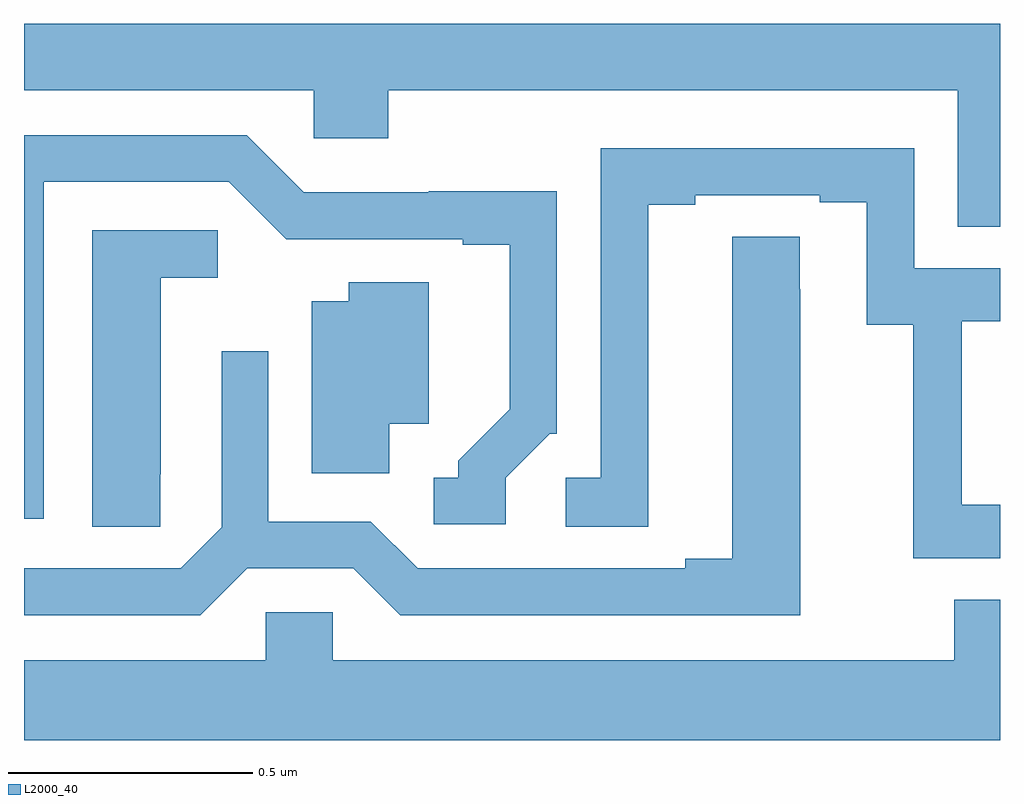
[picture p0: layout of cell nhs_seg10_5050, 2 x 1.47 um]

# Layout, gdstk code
import gdstk
lib = gdstk.Library(unit=1e-6, precision=1e-09)
def P(c, l, *ps):  # polygons
    for p in ps: c.add(gdstk.Polygon(p, *l))
L2000_40 = (2000, 40)

nhs_seg10_5050 = lib.new_cell('nhs_seg10_5050')
P(nhs_seg10_5050, L2000_40, [(176,1252.5),(174,1252.5),(174,1252.364),(174.594,1252.364),(174.594,1252.266),(174.746,1252.266),(174.746,1252.364),(175.913,1252.364),(175.913,1252.084),(176,1252.084)],
  [(174.987,1251.57),(175.077,1251.66),(175.092,1251.66),(175.092,1252.157),(174.829,1252.157),(174.829,1252.155),(174.573,1252.155),(174.456,1252.272),(174,1252.272),(174,1251.486),(174.04,1251.486),(174.04,1252.176),(174.42,1252.176),(174.537,1252.059),(174.899,1252.059),(174.899,1252.047),(174.995,1252.047),(174.995,1251.71),(174.89,1251.605),(174.89,1251.57),(174.84,1251.57),(174.84,1251.474),(174.987,1251.474)],
  [(176,1251.514),(175.922,1251.514),(175.922,1251.891),(176,1251.891),(176,1251.999),(175.824,1251.999),(175.824,1252.245),(175.182,1252.245),(175.182,1251.57),(175.11,1251.57),(175.11,1251.469),(175.279,1251.469),(175.279,1252.129),(175.375,1252.129),(175.375,1252.149),(175.631,1252.149),(175.631,1252.134),(175.727,1252.134),(175.727,1251.883),(175.822,1251.883),(175.822,1251.405),(176,1251.405)],
  [(174.279,1251.577),(174.28,1251.577),(174.28,1251.98),(174.397,1251.98),(174.397,1252.077),(174.14,1252.077),(174.14,1251.469),(174.279,1251.469)],
  [(174.457,1251.384),(174.675,1251.384),(174.771,1251.288),(175.591,1251.288),(175.591,1251.956),(175.59,1251.956),(175.59,1252.064),(175.451,1252.064),(175.451,1251.404),(175.355,1251.404),(175.355,1251.384),(174.807,1251.384),(174.711,1251.48),(174.501,1251.48),(174.501,1251.829),(174.405,1251.829),(174.405,1251.468),(174.321,1251.384),(174,1251.384),(174,1251.288),(174.361,1251.288)],
  [(174.748,1251.68),(174.829,1251.68),(174.829,1251.97),(174.665,1251.97),(174.665,1251.931),(174.59,1251.931),(174.59,1251.579),(174.748,1251.579)],
  [(176,1251.32),(175.906,1251.32),(175.906,1251.196),(174.633,1251.196),(174.633,1251.294),(174.495,1251.294),(174.495,1251.196),(174,1251.196),(174,1251.032),(176,1251.032)])

lib.write_gds('nhs_seg10_5050.gds')
